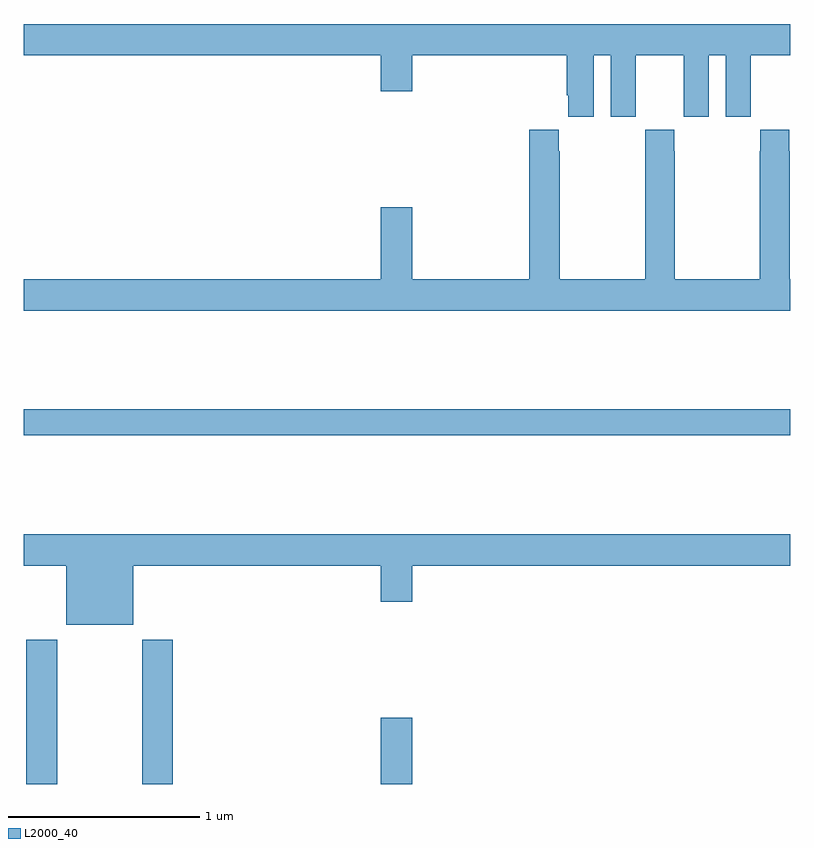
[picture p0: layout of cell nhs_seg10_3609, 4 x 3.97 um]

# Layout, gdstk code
import gdstk
lib = gdstk.Library(unit=1e-6, precision=1e-09)
def R(c, l, rs):  # rectangles x0, y0, x1, y1
    for r in rs: c.add(gdstk.rectangle(r[:2], r[2:], *l))
def P(c, l, *ps):  # polygons
    for p in ps: c.add(gdstk.Polygon(p, *l))
L2000_40 = (2000, 40)

nhs_seg10_3609 = lib.new_cell('nhs_seg10_3609')
R(nhs_seg10_3609, L2000_40, [(307.013,1308.5,307.173,1309.252), (307.618,1308.5,307.778,1309.252), (308.864,1308.5,309.028,1308.847), (307,1310.32,311,1310.456)])
P(nhs_seg10_3609, L2000_40, [(309.976,1312.304),(310.064,1312.304),(310.064,1311.984),(310.194,1311.984),(310.194,1312.096),(310.195,1312.096),(310.195,1312.304),(310.445,1312.304),(310.445,1312.096),(310.446,1312.096),(310.446,1311.984),(310.576,1311.984),(310.576,1312.304),(310.664,1312.304),(310.664,1311.984),(310.794,1311.984),(310.794,1312.096),(310.795,1312.096),(310.795,1312.304),(311,1312.304),(311,1312.468),(307,1312.468),(307,1312.304),(308.864,1312.304),(308.864,1312.116),(309.028,1312.116),(309.028,1312.304),(309.833,1312.304),(309.833,1312.096),(309.842,1312.096),(309.842,1311.984),(309.976,1311.984)],
  [(310.245,1311.916),(310.245,1311.803),(310.243,1311.803),(310.243,1311.136),(309.798,1311.136),(309.798,1311.803),(309.791,1311.803),(309.791,1311.916),(309.638,1311.916),(309.638,1311.136),(309.028,1311.136),(309.028,1311.511),(308.864,1311.511),(308.864,1311.136),(307,1311.136),(307,1310.972),(311,1310.972),(311,1311.136),(310.998,1311.136),(310.998,1311.803),(310.995,1311.803),(310.995,1311.916),(310.845,1311.916),(310.845,1311.803),(310.843,1311.803),(310.843,1311.136),(310.398,1311.136),(310.398,1311.803),(310.395,1311.803),(310.395,1311.916)],
  [(307.57,1309.64),(308.864,1309.64),(308.864,1309.452),(309.028,1309.452),(309.028,1309.64),(311,1309.64),(311,1309.804),(307,1309.804),(307,1309.64),(307.22,1309.64),(307.22,1309.331),(307.57,1309.331)])

lib.write_gds('nhs_seg10_3609.gds')
